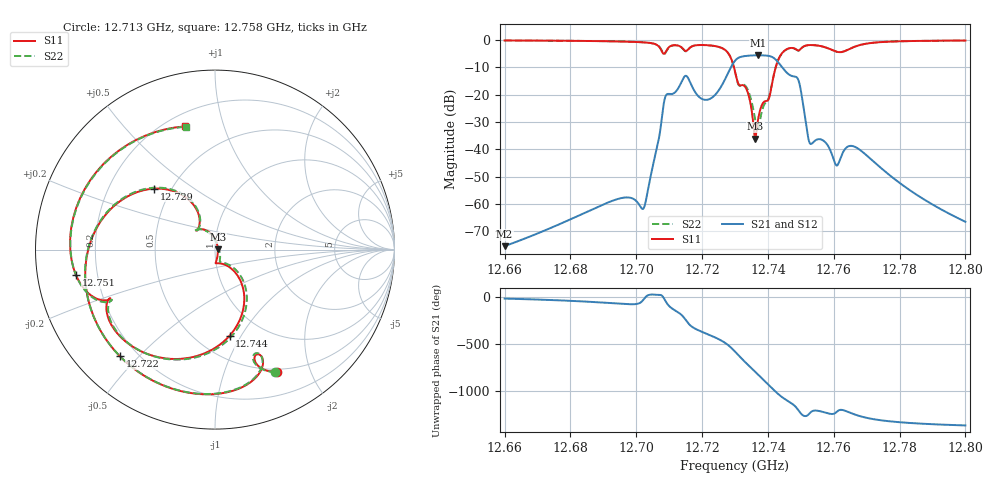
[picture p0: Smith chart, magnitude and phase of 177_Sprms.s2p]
! TOUCHSTONE file generated by CST MICROWAVE STUDIO
! Date and time: Wed Jul 31 19:49:50 2024
! Project name: WaveGuide_BPF-Ver4.1_U-shape_Ku_T3_C4_CWA_2.cst
! Parameters = {cavity_h=16; cavity_l0=10; cavity_l1=15.216; cavity_l2=16.803; cavity_l3=17.0777; cavity_l4=17.2977; cavity_l5=17.1252; cavity_l6=17.6027; cavity_r=2.5; cavity_screw_l=0.5; cavity_screw_r=1.5; cavity_w=8; iris_h00=0; iris_h01=8.7993; iris_h112=0; iris_h12=5.5926; iris_h211=3.6542; ir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
! Header version: 2018
! Port assignment regex: !\s*Touchstone port\s*([0-9]+)\s*=\s*(CST MWS port|CST DS port)\s*([0-9]+|Zmin|Zmax)\s*\(\"(.*)\"\)(\s*mode\s*([0-9]+))?.*
! Touchstone port assignment:
! Touchstone port 1 = CST MWS port 1 ("")
! Touchstone port 2 = CST MWS port 2 ("")
# GHz S RI R 50
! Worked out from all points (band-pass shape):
!   5001 points, 12.66 GHz to 12.8 GHz, reference 50 ohm
!   highest |S21| = -5.60 dB at 12.737 GHz (marker M1); lowest = -75.5 dB at 12.66 GHz (marker M2)
!   |S21| within 3 dB of the highest: 12.7294 GHz to 12.74343 GHz (14.02 MHz wide, 0.11 % of centre)
!   lowest |S11| = -36.1 dB at 12.736 GHz (marker M3), VSWR 1.03, Z = 51.6 + j0.0898 ohm
!   |S11| at or under -10 dB: 12.72969 GHz to 12.74236 GHz (12.67 MHz wide, 0.0995 % of centre)
!   |S22| runs from -33.4 to -0.2 dB; largest |S21 - S12| = 1e-09
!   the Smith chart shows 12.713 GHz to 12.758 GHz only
!   S11 on the Smith chart (normalised r, x): 12.713 GHz: 0.47, -1.52; 12.722 GHz: 0.14, -0.44; 12.729 GHz: 0.40, +0.36; 12.744 GHz: 0.71, -0.89; 12.751 GHz: 0.12, -0.09; 12.758 GHz: 0.27, +0.75
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12.66  0.297 0.9358  0.000157 -6.12e-05  0.000157 -6.12e-05  0.2998 0.935
12.68335  0.693 0.6698  0.00041 -0.000498  0.00041 -0.000498  0.6946 0.6683
12.70208  0.897 -0.1386  0.000655 -0.000482  0.000655 -0.000482  0.8972 -0.14
12.70668  0.6197 -0.4737  0.013 0.00414  0.013 0.00414  0.6276 -0.4783
12.70894  0.5407 -0.278  0.0599 -0.0735  0.0599 -0.0735  0.5182 -0.2841
12.71334  0.3445 -0.6814  -0.1519 0.00468  -0.1519 0.00468  0.3363 -0.6813
12.72241  -0.5296 -0.5946  0.0567 -0.0618  0.0567 -0.0618  -0.5362 -0.5874
12.72868  -0.3378 0.3395  -0.3094 -0.0257  -0.3094 -0.0257  -0.3295 0.3452
12.73  -0.1134 0.2408  -0.314 0.2751  -0.314 0.2751  -0.1068 0.2392
12.73356  -0.056 0.1097  0.5011 0.11  0.5011 0.11  -0.0731 0.1125
12.73613  0.0156 0.00087  0.1441 -0.5041  0.1441 -0.5041  0.00979 0.0331
12.73711  0.0139 -0.0354  -0.1528 -0.5022  -0.1528 -0.5022  0.0233 -0.00224
12.73963  0.00887 -0.076  -0.508 0.1049  -0.508 0.1049  0.0305 -0.0692
12.74352  0.081 -0.4801  0.2813 0.2331  0.2813 0.2331  0.101 -0.4733
12.7491  -0.5859 -0.2705  -0.0737 -0.1797  -0.0737 -0.1797  -0.577 -0.2793
12.75139  -0.7749 -0.1408  -0.034 0.000831  -0.034 0.000831  -0.7703 -0.1522
12.75335  -0.7951 0.153  -0.00842 -0.00954  -0.00842 -0.00954  -0.795 0.144
12.75828  -0.1652 0.6863  -0.0102 -0.00527  -0.0102 -0.00527  -0.1637 0.6841
12.7624  0.6017 0.0407  -0.00336 -0.00701  -0.00336 -0.00701  0.6016 0.0304
12.76657  0.0952 -0.7562  -0.0107 -0.00255  -0.0107 -0.00255  0.0862 -0.759
12.77668  -0.8265 -0.4322  -0.00198 0.00285  -0.00198 0.00285  -0.829 -0.4281
12.8  -0.9494 0.2381  8.32e-05 0.000463  8.32e-05 0.000463  -0.9485 0.242
